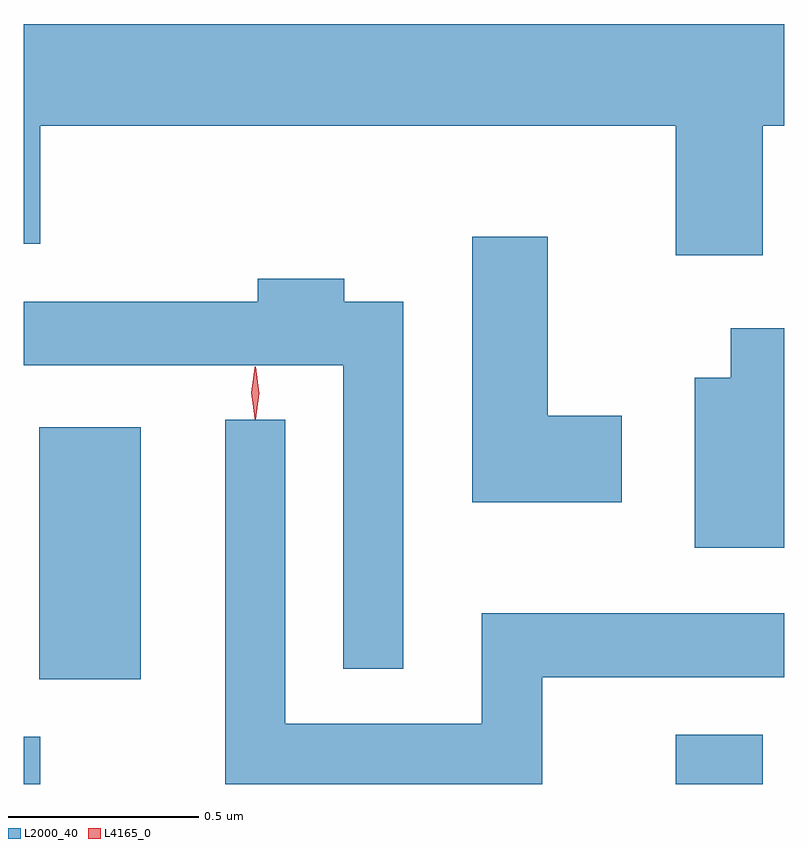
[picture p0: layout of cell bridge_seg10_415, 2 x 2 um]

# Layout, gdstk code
import gdstk
lib = gdstk.Library(unit=1e-6, precision=1e-09)
def R(c, l, rs):  # rectangles x0, y0, x1, y1
    for r in rs: c.add(gdstk.rectangle(r[:2], r[2:], *l))
def P(c, l, *ps):  # polygons
    for p in ps: c.add(gdstk.Polygon(p, *l))
L2000_40 = (2000, 40)
L4165_0 = (4165, 0)

bridge_seg10_415 = lib.new_cell('bridge_seg10_415')
R(bridge_seg10_415, L2000_40, [(1396.266,2141.045,1396.309,2141.169), (1397.981,2141.045,1398.209,2141.174), (1396.306,2141.321,1396.574,2141.984)])
P(bridge_seg10_415, L2000_40, [(1398.209,2142.776),(1398.266,2142.776),(1398.266,2143.044),(1396.266,2143.044),(1396.266,2142.466),(1396.309,2142.466),(1396.309,2142.776),(1397.981,2142.776),(1397.981,2142.436),(1398.209,2142.436)],
  [(1397.839,2142.014),(1397.644,2142.014),(1397.644,2142.484),(1397.446,2142.484),(1397.446,2141.786),(1397.839,2141.786)],
  [(1397.264,2142.314),(1397.109,2142.314),(1397.109,2142.374),(1396.881,2142.374),(1396.881,2142.314),(1396.266,2142.314),(1396.266,2142.146),(1397.106,2142.146),(1397.106,2141.348),(1397.264,2141.348)],
  [(1398.266,2142.244),(1398.126,2142.244),(1398.126,2142.114),(1398.031,2142.114),(1398.031,2141.666),(1398.266,2141.666)],
  [(1397.629,2141.326),(1398.266,2141.326),(1398.266,2141.494),(1397.471,2141.494),(1397.471,2141.204),(1396.954,2141.204),(1396.954,2142.003),(1396.796,2142.003),(1396.796,2141.045),(1397.629,2141.045)])
P(bridge_seg10_415, L4165_0, [(1396.874,2142.007),(1396.873,2142.008),(1396.864,2142.074),(1396.873,2142.14),(1396.874,2142.14),(1396.874,2142.14),(1396.884,2142.074),(1396.874,2142.008)],
  [(1396.874,2142.004),(1396.865,2142.073),(1396.874,2142.142),(1396.875,2142.143),(1396.876,2142.142),(1396.885,2142.073),(1396.876,2142.004),(1396.875,2142.004)])

lib.write_gds('bridge_seg10_415.gds')
